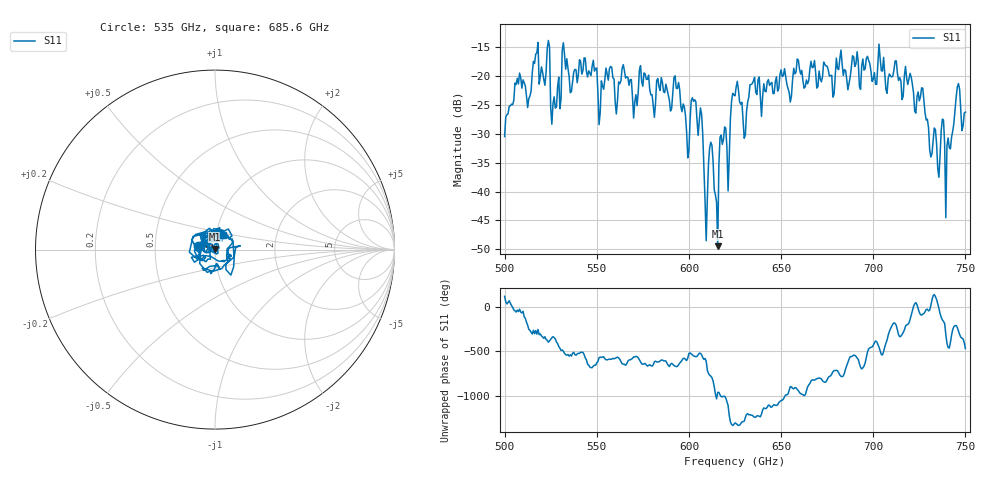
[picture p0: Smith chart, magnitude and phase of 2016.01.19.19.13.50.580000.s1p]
!Created with skrf (http://scikit-rf.org).
# GHz S RI R 50.0
!freq ReS11 ImS11
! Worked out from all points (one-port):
!   401 points, 500 GHz to 750 GHz, reference 50 ohm
!   lowest |S11| = -49.4 dB at 615.6 GHz (marker M1), VSWR 1.01, Z = 49.8 + j0.28 ohm
!   |S11| at or under -10 dB: start of sweep to end of sweep
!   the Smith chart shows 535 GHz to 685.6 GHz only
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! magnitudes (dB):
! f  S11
! 500 GHz  -30.5
! 506.9 GHz  -20.4
! 513.1 GHz  -23.9
! 516.9 GHz  -16.2
! 523.1 GHz  -15.2
! 526.2 GHz  -24.8
! 531.2 GHz  -15.6
! 562.5 GHz  -21.3
! 593.8 GHz  -22.2
! 599.4 GHz  -34.2
! 602.5 GHz  -24.4
! 606.2 GHz  -25.5
! 609.4 GHz  -48.5
! 611.9 GHz  -31.5
! 615.6 GHz  -49.4
! 618.1 GHz  -31.8
! 621.2 GHz  -39.9
! 625 GHz  -23.4
! 630.6 GHz  -30.2
! 634.4 GHz  -21.3
! 656.2 GHz  -20.6
! 687.5 GHz  -20.1
! 718.8 GHz  -21.5
! 735 GHz  -36.0
! 737.5 GHz  -27.5
! 740.6 GHz  -30.7
! 745.6 GHz  -21.9
! 750 GHz  -26.3
